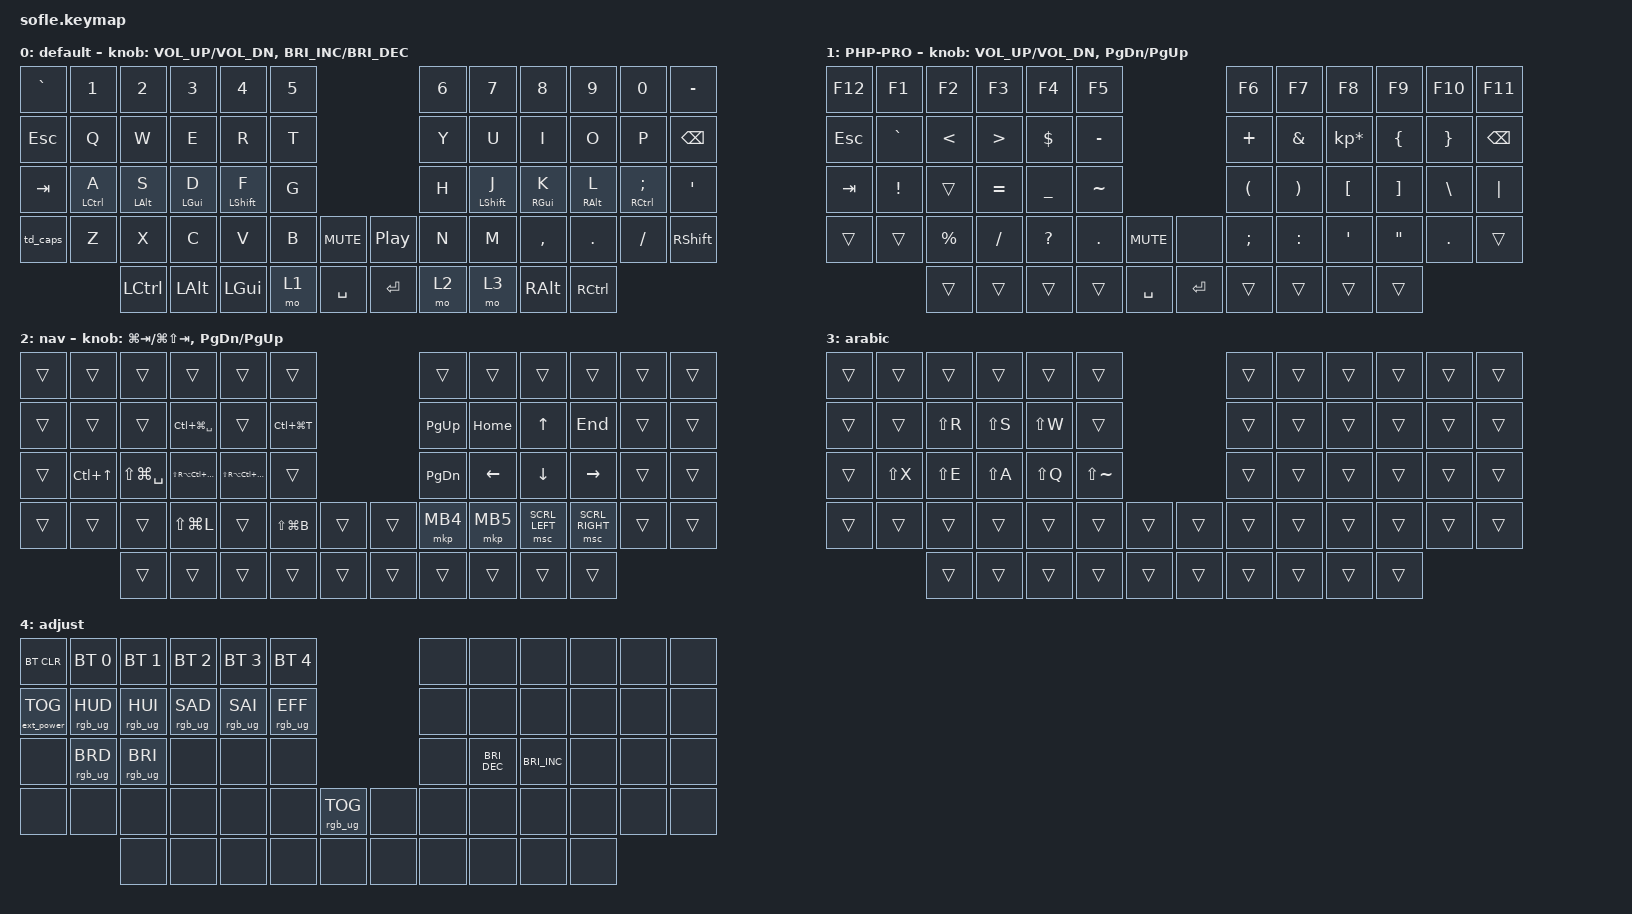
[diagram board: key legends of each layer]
/*
 * Copyright (c) 2020 The ZMK Contributors
 *
 * SPDX-License-Identifier: MIT
 */

#define ZMK_POINTING_DEFAULT_MOVE_VAL 1200  // 600
#define ZMK_POINTING_DEFAULT_SCRL_VAL 25   // 10

#include <behaviors.dtsi>
#include <dt-bindings/zmk/bt.h>
#include <dt-bindings/zmk/ext_power.h>
#include <dt-bindings/zmk/keys.h>
#include <dt-bindings/zmk/pointing.h>
#include <dt-bindings/zmk/rgb.h>

#define BASE 0
#define LOWER 1
#define RAISE 2
#define ADJUST 3

&msc {
    acceleration-exponent = <1>;      // 0
    time-to-max-speed-ms = <100>;       // 300
    delay-ms = <0>;                   // 0
};

&mmv {
    time-to-max-speed-ms = <500>;
    acceleration-exponent = <1>;
    trigger-period-ms = <16>;
};

/ {
    scroll_encoder: scroll_encoder {
        compatible = "zmk,behavior-sensor-rotate";
        #sensor-binding-cells = <0>;
        bindings = <&msc SCRL_DOWN>, <&msc SCRL_UP>;

        tap-ms = <100>;
    };

    hmr_behavior: hmr_behavior {
        compatible = "zmk,behavior-hold-tap";
        label = "HMR_BEHAVIOR";
        bindings = <&kp>, <&kp>;

        #binding-cells = <2>;
        flavor = "balanced";
        tapping-term-ms = <220>;
        require-prior-idle-ms = <125>;
    };

    // Activate ADJUST layer by pressing raise and lower

    conditional_layers {
        compatible = "zmk,conditional-layers";

        adjust_layer {
            if-layers = <1 2>;
            then-layer = <4>;
        };
    };

    combos {
        compatible = "zmk,combos";

        raycast {
            bindings = <&kp LG(SPACE)>;
            key-positions = <28 27>;
            layers = <0>;
        };

        php_arrow_combo {
            bindings = <&php_arrow_macro>;
            key-positions = <31 32>;
            layers = <1>;
        };

        php_fat_arrow_combo {
            bindings = <&php_fat_arrow_macro>;
            key-positions = <28 27>;
            layers = <1>;
        };

        backspace_word {
            bindings = <&kp RA(BACKSPACE)>;
            key-positions = <31 30>;
            layers = <0>;
        };

        backspace {
            bindings = <&kp BSPC>;
            key-positions = <31 32>;
        };
    };

    behaviors {
        td_caps: tap_dance_caps {
            compatible = "zmk,behavior-tap-dance";
            label = "TAP_DANCE_CAPS";
            #binding-cells = <0>;
            tapping-term-ms = <200>;
            bindings = <&kp LSHIFT>, <&kp CAPSLOCK>;
        };
    };

    macros {
        php_arrow_macro: php_arrow_macro {
            compatible = "zmk,behavior-macro";
            #binding-cells = <0>;
            bindings = <&kp MINUS &kp GT>;
            label = "PHP_ARROW_MACRO";
        };

        php_fat_arrow_macro: php_fat_arrow_macro {
            compatible = "zmk,behavior-macro";
            #binding-cells = <0>;
            bindings = <&kp EQUAL &kp GT>;
            label = "PHP_FAT_ARROW_MACRO";
        };
    };

    keymap {
        compatible = "zmk,keymap";

        default_layer {
            // ------------------------------------------------------------------------------------------------------------
            // |  `    |  1  |  2  |  3   |  4   |  5   |                   |  6   |  7    |  8    |  9   |   0   |   -   |
            // |  ESC  |  Q  |  W  |  E   |  R   |  T   |                   |  Y   |  U    |  I    |  O   |   P   | BKSPC |
            // |  TAB  |  A  |  S  |  D   |  F   |  G   |                   |  H   |  J    |  K    |  L   |   ;   |   '   |
            // | SHIFT |  Z  |  X  |  C   |  V   |  B   |  MUTE  |  | PLAY  |  N   |  M    |  ,    |  .   |   /   | SHIFT |
            //               | CTRL| ALT  | CMD  | LOWER|  SPACE |  | ENTER | RAISE| CMD   | ALT   | CTRL |

            bindings = <
&kp GRAVE  &kp N1                        &kp N2                    &kp N3                &kp N4                      &kp N5                          &kp N6  &kp N7                  &kp N8                     &kp N9                &kp N0                         &kp MINUS
&kp ESC    &kp Q                         &kp W                     &kp E                 &kp R                       &kp T                           &kp Y   &kp U                   &kp I                      &kp O                 &kp P                          &kp BSPC
&kp TAB    &hmr_behavior LEFT_CONTROL A  &hmr_behavior LEFT_ALT S  &hmr_behavior LGUI D  &hmr_behavior LEFT_SHIFT F  &kp G                           &kp H   &hmr_behavior LSHIFT J  &hmr_behavior RIGHT_GUI K  &hmr_behavior RALT L  &hmr_behavior RCTRL SEMICOLON  &kp SQT
&td_caps   &kp Z                         &kp X                     &kp C                 &kp V                       &kp B   &kp C_MUTE    &kp C_PP  &kp N   &kp M                   &kp COMMA                  &kp DOT               &kp FSLH                       &kp RSHFT
                                         &kp LCTRL                 &kp LALT              &kp LGUI                    &mo 1   &kp SPACE     &kp RET   &mo 2   &mo 3                   &kp RALT                   &kp RCTRL
            >;

            sensor-bindings =
                <&inc_dec_kp C_VOL_UP C_VOL_DN>,
                <&inc_dec_kp C_BRIGHTNESS_INC C_BRIGHTNESS_DEC>;

            label = "default";
        };

        lower_layer {
            display-name = "PHP-PRO";

            // ------------------------------------------------------------------------------------------------------------
            // |  F12  |  F1 |  F2 |  F3  |  F4  |  F5  |                   |  F6  |  F7   |  F8   |  F9  |  F10  |  F11  |
            // |  `    |  !  |  @  |  #   |  $   |  %   |                   |  ^   |  &    |  * |  (   |   )   |  BSPC |
            // |  TRANS|  =  |  -  |  >   |  _   |  ~   |                   |  [   |  ]    |  {    |  }   |   \   |   |   |
            // |  TRANS|  <  |  +  |  /   |  ?   |  .   |  MUTE  |  |       |  ;   |  :    |  '    |  "   |   .   |  TRANS|
            //                |     |      |      |      |  ENTER |  | SPACE |      |       |       |      |

            bindings = <
&kp F12  &kp F1     &kp F2       &kp F3            &kp F4     &kp F5                              &kp F6                &kp F7                 &kp F8           &kp F9             &kp F10          &kp F11
&kp ESC  &kp GRAVE  &kp LT       &kp GREATER_THAN  &kp DLLR   &kp MINUS                           &kp PLUS              &kp AMPS               &kp KP_MULTIPLY  &kp LEFT_BRACE     &kp RIGHT_BRACE  &kp BSPC
&kp TAB  &kp EXCL   &trans       &kp EQUAL         &kp UNDER  &kp TILDE                           &kp LEFT_PARENTHESIS  &kp RIGHT_PARENTHESIS  &kp LBKT         &kp RIGHT_BRACKET  &kp BSLH         &kp PIPE
&trans   &trans     &kp PERCENT  &kp FSLH          &kp QMARK  &kp DOT    &kp C_MUTE    &none      &kp SEMI              &kp COLON              &kp SQT          &kp DQT            &kp DOT          &trans
                    &trans       &trans            &trans     &trans     &kp SPACE     &kp ENTER  &trans                &trans                 &trans           &trans
            >;

            sensor-bindings =
                <&inc_dec_kp C_VOL_UP C_VOL_DN>,
                <&inc_dec_kp PG_DN PG_UP>;
        };

        nav_layer {
            // ------------------------------------------------------------------------------------------------------------
            // | BTCLR | BT1 | BT2 |  BT3 |  BT4 |  BT5 |                   |      |       |       |      |       |       |
            // |       | INS | PSCR| GUI  |      |      |                   | PGUP |  HOME |   UP  | END  |       |       |
            // |       | ALT | CTRL| SHIFT|      |      |                   | PGDN |  LEFT |  DOWN | RIGHT|       |       |
            // |       | UNDO| CUT | COPY | PASTE|      |        |  |       |      |       |       |      |       |       |
            //               |     |      |      |      |        |  |       |      |       |       |      |

            bindings = <
&trans  &trans            &trans             &trans                 &trans                 &trans                           &trans     &trans    &trans          &trans           &trans  &trans
&trans  &trans            &trans             &kp LC(LG(SPACE))      &trans                 &kp LC(LG(T))                    &kp PG_UP  &kp HOME  &kp UP          &kp END          &trans  &trans
&trans  &kp LC(UP_ARROW)  &kp LS(LG(SPACE))  &kp LS(RA(LC(LG(D))))  &kp LS(RA(LC(LG(F))))  &trans                           &kp PG_DN  &kp LEFT  &kp DOWN        &kp RIGHT        &trans  &trans
&trans  &trans            &trans             &kp LS(LG(L))          &trans                 &kp LS(LG(B))  &trans    &trans  &mkp MB4   &mkp MB5  &msc SCRL_LEFT  &msc SCRL_RIGHT  &trans  &trans
                          &trans             &trans                 &trans                 &trans         &trans    &trans  &trans     &trans    &trans          &trans
            >;

            sensor-bindings =
                <&inc_dec_kp LG(TAB) LG(LS(TAB))>,
                <&inc_dec_kp PG_DN PG_UP>;

            label = "nav";
        };

        arabic_layer {
            bindings = <
&trans  &trans     &trans     &trans     &trans     &trans                           &trans  &trans  &trans  &trans  &trans  &trans
&trans  &trans     &kp LS(R)  &kp LS(S)  &kp LS(W)  &trans                           &trans  &trans  &trans  &trans  &trans  &trans
&trans  &kp LS(X)  &kp LS(E)  &kp LS(A)  &kp LS(Q)  &kp LS(TILDE)                    &trans  &trans  &trans  &trans  &trans  &trans
&trans  &trans     &trans     &trans     &trans     &trans         &trans    &trans  &trans  &trans  &trans  &trans  &trans  &trans
                   &trans     &trans     &trans     &trans         &trans    &trans  &trans  &trans  &trans  &trans
            >;

            label = "arabic";
        };

        adjust_layer {
            // ----------------------------------------------------------------------------------------------------------------------------
            // | BTCLR  |  BT1    |  BT2    |   BT3   |   BT4   |   BT5   |                  |      |      |       |      |       |       |
            // | EXTPWR | RGB_HUD | RGB_HUI | RGB_SAD | RGB_SAI | RGB_EFF |                  |      |      |       |      |       |       |
            // |        | RGB_BRD | RGB_BRI |         |         |         |                  |      |      |       |      |       |       |
            // |        |         |         |         |         |         | RGB_TOG | |      |      |      |       |      |       |       |
            //                    |         |         |         |         |         | |      |      |      |       |      |

            display-name = "adjust";
            bindings = <
&bt BT_CLR         &bt BT_SEL 0     &bt BT_SEL 1     &bt BT_SEL 2     &bt BT_SEL 3     &bt BT_SEL 4                               &none  &none                 &none                 &none  &none  &none
&ext_power EP_TOG  &rgb_ug RGB_HUD  &rgb_ug RGB_HUI  &rgb_ug RGB_SAD  &rgb_ug RGB_SAI  &rgb_ug RGB_EFF                            &none  &none                 &none                 &none  &none  &none
&none              &rgb_ug RGB_BRD  &rgb_ug RGB_BRI  &none            &none            &none                                      &none  &kp C_BRIGHTNESS_DEC  &kp C_BRIGHTNESS_INC  &none  &none  &none
&none              &none            &none            &none            &none            &none            &rgb_ug RGB_TOG    &none  &none  &none                 &none                 &none  &none  &none
                                    &none            &none            &none            &none            &none              &none  &none  &none                 &none                 &none
            >;
        };
    };
};
